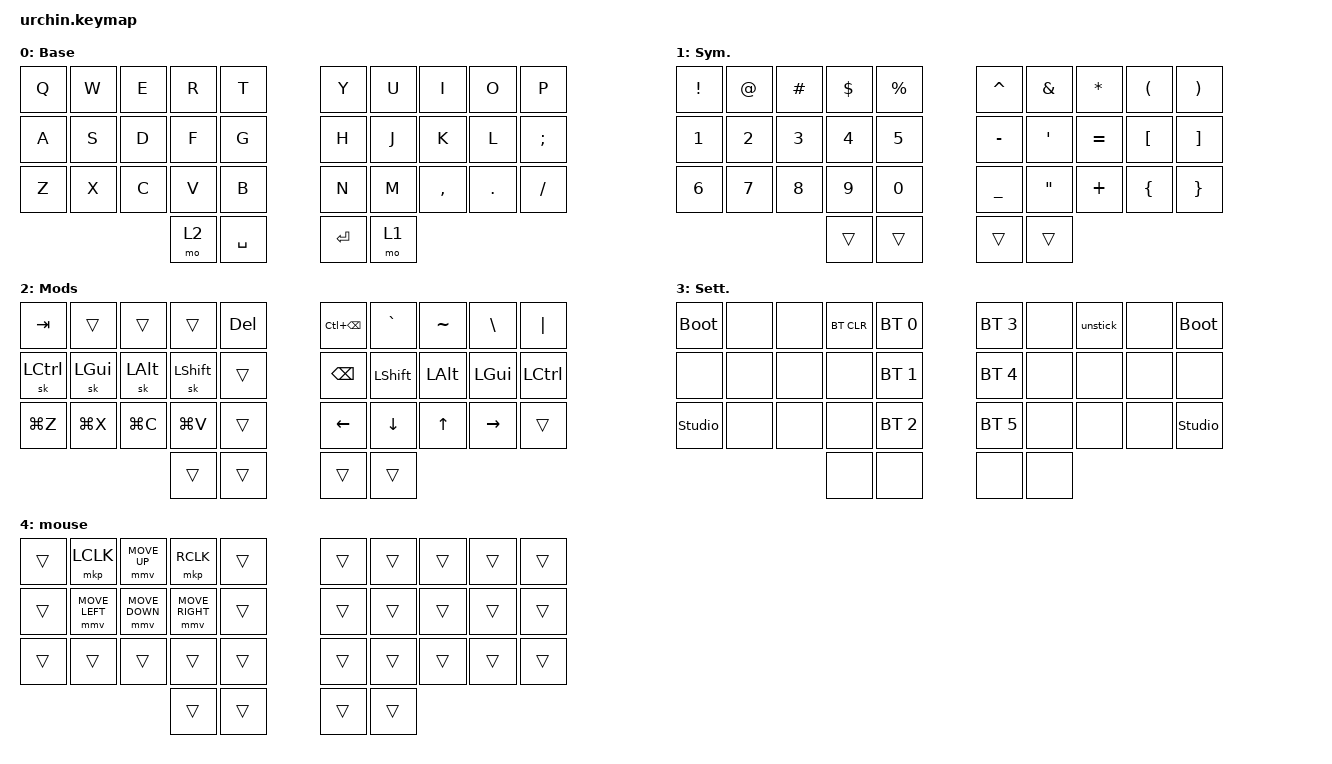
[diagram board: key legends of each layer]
/*
 * Copyright (c) 2020 duckyb
 *
 * SPDX-License-Identifier: MIT
 */

#include <behaviors.dtsi>
#include <dt-bindings/zmk/bt.h>
#include <dt-bindings/zmk/keys.h>
#include <dt-bindings/zmk/pointing.h>
#include "keymap_italian.h"

// Layer definitions

#define BASE 0
#define SYM 1
#define EXT 2
#define FNC 3
#define SYM2 4
#define ACCENT 5
#define SETTINGS 6

// -----------------

&sk {
    // don't release mods on other mods presses

    ignore-modifiers;
};

/ {
    behaviors {
        // Enables holding the first mod-tap key
        // by performing a tap-release-hold sequence.
        // To use it: "&qt KEYCODE1 KEYCODE2"

        qt: quick_tap {
            compatible = "zmk,behavior-hold-tap";
            label = "QUICK_TAP";
            #binding-cells = <2>;
            flavor = "hold-preferred";
            tapping-term-ms = <200>;
            quick-tap-ms = <200>;
            bindings = <&kp>, <&kp>;
        };
    };

    macros {
        // sometimes my device thinks a modifier is being held down
        // pressing all modifiers fixes it.

        unstick: unstick {
            label = "ZM_unstick";
            compatible = "zmk,behavior-macro";
            #binding-cells = <0>;
            bindings = <&kp LSHIFT &kp RSHIFT &kp LCTRL &kp RCTRL &kp LALT &kp RALT &kp LGUI &kp RGUI>;
        };
    };

    combos {
        compatible = "zmk,combos";

        // both right thumb keys
        // internal-left & external-right thumb keys
        // both left thumb keys

        esc {
            key-positions = <16 17>;
            bindings = <&kp ESC>;
        };

        settings_layer {
            bindings = <&mo 3>;
            key-positions = <30 31>;
        };

        mouse_layer {
            bindings = <&mo 4>;
            key-positions = <33 32>;
        };

        // left index & middle fingers (home-row)
        // hold control & space for Adobe workflowesc {};
    };

    keymap {
        compatible = "zmk,keymap";

        // Base alpha layer

        default_layer {
            label = "Base";
            bindings = <
&kp Q  &kp W  &kp E  &kp R  &kp T      &kp Y      &kp U  &kp I      &kp O    &kp P
&kp A  &kp S  &kp D  &kp F  &kp G      &kp H      &kp J  &kp K      &kp L    &kp SEMICOLON
&kp Z  &kp X  &kp C  &kp V  &kp B      &kp N      &kp M  &kp COMMA  &kp DOT  &kp SLASH
                     &mo 2  &kp SPACE  &kp ENTER  &mo 1
            >;
        };

        sym_layer {
            label = "Sym.";
            bindings = <
&kp EXCLAMATION  &kp AT_SIGN   &kp HASH      &kp DOLLAR    &kp PERCENT  &kp CARET  &kp AMPERSAND      &kp ASTERISK  &kp LEFT_PARENTHESIS  &kp RIGHT_PARENTHESIS
&kp NUMBER_1     &kp NUMBER_2  &kp NUMBER_3  &kp NUMBER_4  &kp N5       &kp MINUS  &kp SQT            &kp EQUAL     &kp LEFT_BRACKET      &kp RIGHT_BRACKET
&kp NUMBER_6     &kp N7        &kp N8        &kp N9        &kp N0       &kp UNDER  &kp DOUBLE_QUOTES  &kp PLUS      &kp LEFT_BRACE        &kp RIGHT_BRACE
                                             &trans        &trans       &trans     &trans
            >;
        };

        ext_layer {
            label = "Mods";
            bindings = <
&kp TAB    &trans     &trans     &trans      &kp DELETE  &kp LC(BACKSPACE)  &kp GRAVE   &kp TILDE     &kp BACKSLASH  &kp PIPE
&sk LCTRL  &sk LGUI   &sk LALT   &sk LSHIFT  &trans      &kp BACKSPACE      &kp LSHIFT  &kp LALT      &kp LGUI       &kp LCTRL
&kp LG(Z)  &kp LG(X)  &kp LG(C)  &kp LG(V)   &trans      &kp LEFT           &kp DOWN    &kp UP_ARROW  &kp RIGHT      &trans
                                 &trans      &trans      &trans             &trans
            >;
        };

        settings_layer {
            label = "Sett.";
            bindings = <
&bootloader     &none  &none  &bt BT_CLR  &bt BT_SEL 0  &bt BT_SEL 3  &none  &unstick  &none  &bootloader
&none           &none  &none  &none       &bt BT_SEL 1  &bt BT_SEL 4  &none  &none     &none  &none
&studio_unlock  &none  &none  &none       &bt BT_SEL 2  &bt BT_SEL 5  &none  &none     &none  &studio_unlock
                              &none       &none         &none         &none
            >;
        };

        mouse {
            bindings = <
&trans  &mkp LCLK       &mmv MOVE_UP    &mkp RCLK        &trans  &trans  &trans  &trans  &trans  &trans
&trans  &mmv MOVE_LEFT  &mmv MOVE_DOWN  &mmv MOVE_RIGHT  &trans  &trans  &trans  &trans  &trans  &trans
&trans  &trans          &trans          &trans           &trans  &trans  &trans  &trans  &trans  &trans
                                        &trans           &trans  &trans  &trans
            >;
        };
    };
};
